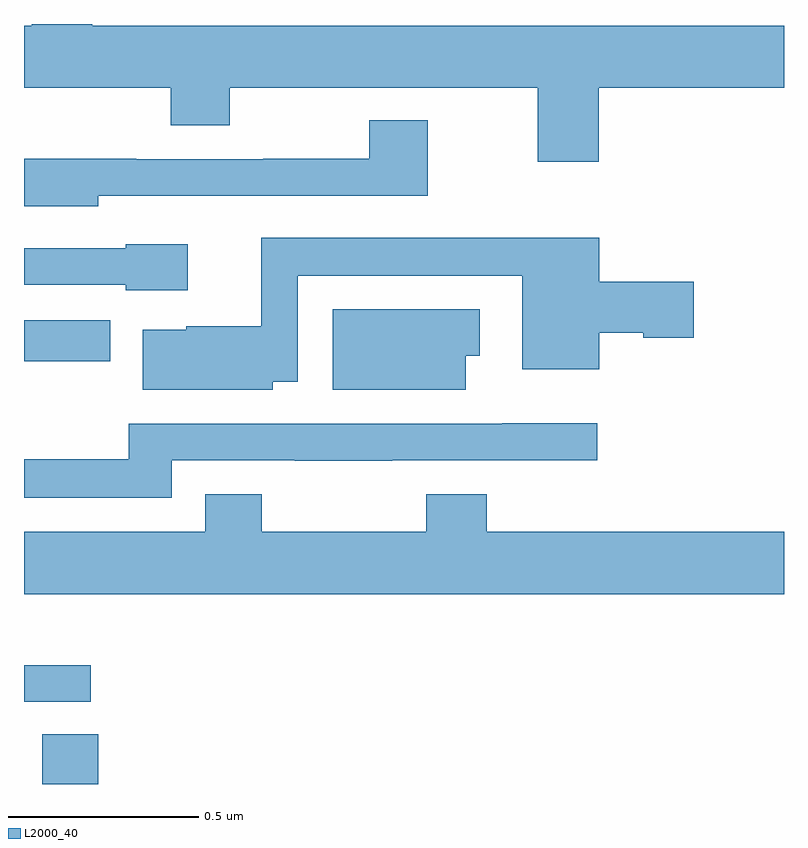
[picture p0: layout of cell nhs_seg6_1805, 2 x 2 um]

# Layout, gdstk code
import gdstk
lib = gdstk.Library(unit=1e-6, precision=1e-09)
def R(c, l, rs):  # rectangles x0, y0, x1, y1
    for r in rs: c.add(gdstk.rectangle(r[:2], r[2:], *l))
def P(c, l, *ps):  # polygons
    for p in ps: c.add(gdstk.Polygon(p, *l))
L2000_40 = (2000, 40)

nhs_seg6_1805 = lib.new_cell('nhs_seg6_1805')
R(nhs_seg6_1805, L2000_40, [(134.048,949.5,134.195,949.631), (134,949.716,134.176,949.812), (134,950.612,134.227,950.721)])
P(nhs_seg6_1805, L2000_40, [(135.512,951.332),(136,951.332),(136,951.496),(134.18,951.496),(134.18,951.5),(134.02,951.5),(134.02,951.496),(134,951.496),(134,951.332),(134.386,951.332),(134.386,951.233),(134.541,951.233),(134.541,951.332),(135.352,951.332),(135.352,951.138),(135.512,951.138)],
  [(134.196,951.048),(135.063,951.048),(135.063,951.247),(134.908,951.247),(134.908,951.146),(134.629,951.146),(134.629,951.144),(134.296,951.144),(134.296,951.146),(134,951.146),(134,951.02),(134.196,951.02)],
  [(134.655,950.558),(134.721,950.558),(134.721,950.837),(135.311,950.837),(135.311,950.591),(135.514,950.591),(135.514,950.687),(135.63,950.687),(135.63,950.675),(135.763,950.675),(135.763,950.822),(135.514,950.822),(135.514,950.938),(134.624,950.938),(134.624,950.704),(134.427,950.704),(134.427,950.695),(134.312,950.695),(134.312,950.537),(134.655,950.537)],
  [(134.431,950.92),(134.268,950.92),(134.268,950.91),(134,950.91),(134,950.814),(134.268,950.814),(134.268,950.799),(134.431,950.799)],
  [(135.163,950.627),(135.199,950.627),(135.199,950.749),(134.813,950.749),(134.813,950.537),(135.163,950.537)],
  [(134.389,950.352),(134.713,950.352),(134.713,950.351),(134.969,950.351),(134.969,950.352),(135.508,950.352),(135.508,950.449),(135.259,950.449),(135.259,950.448),(134.275,950.448),(134.275,950.354),(134,950.354),(134,950.253),(134.389,950.253)],
  [(136,950.164),(135.218,950.164),(135.218,950.263),(135.058,950.263),(135.058,950.164),(134.625,950.164),(134.625,950.263),(134.477,950.263),(134.477,950.164),(134,950.164),(134,950),(136,950)])

lib.write_gds('nhs_seg6_1805.gds')
